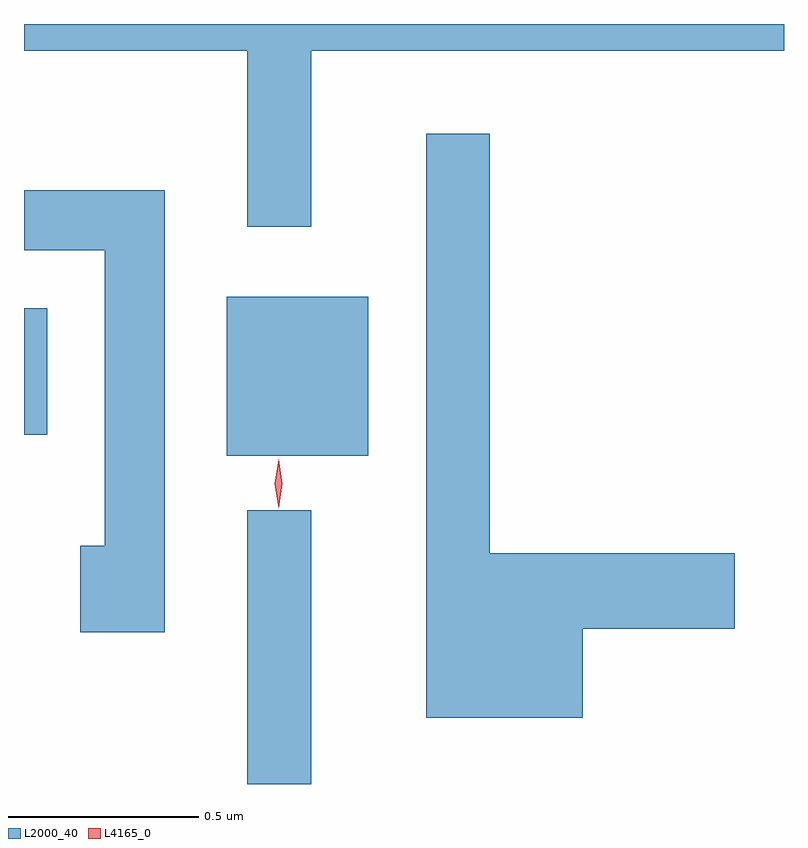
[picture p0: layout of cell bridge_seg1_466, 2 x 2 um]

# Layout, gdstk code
import gdstk
lib = gdstk.Library(unit=1e-6, precision=1e-09)
def R(c, l, rs):  # rectangles x0, y0, x1, y1
    for r in rs: c.add(gdstk.rectangle(r[:2], r[2:], *l))
def P(c, l, *ps):  # polygons
    for p in ps: c.add(gdstk.Polygon(p, *l))
L2000_40 = (2000, 40)
L4165_0 = (4165, 0)

bridge_seg1_466 = lib.new_cell('bridge_seg1_466')
R(bridge_seg1_466, L2000_40, [(336.711,839.927,336.879,840.648), (336.656,840.791,337.029,841.209), (336.123,840.846,336.184,841.179)])
P(bridge_seg1_466, L2000_40, [(336.879,841.856),(338.123,841.856),(338.123,841.927),(336.123,841.927),(336.123,841.856),(336.711,841.856),(336.711,841.393),(336.879,841.393)],
  [(337.594,840.336),(337.994,840.336),(337.994,840.534),(337.349,840.534),(337.349,841.638),(337.181,841.638),(337.181,840.101),(337.594,840.101)],
  [(336.494,841.489),(336.123,841.489),(336.123,841.331),(336.336,841.331),(336.336,840.554),(336.271,840.554),(336.271,840.326),(336.494,840.326)])
P(bridge_seg1_466, L4165_0, [(336.793,840.653),(336.793,840.653),(336.783,840.717),(336.793,840.781),(336.793,840.782),(336.794,840.781),(336.803,840.717),(336.794,840.653)])

lib.write_gds('bridge_seg1_466.gds')
